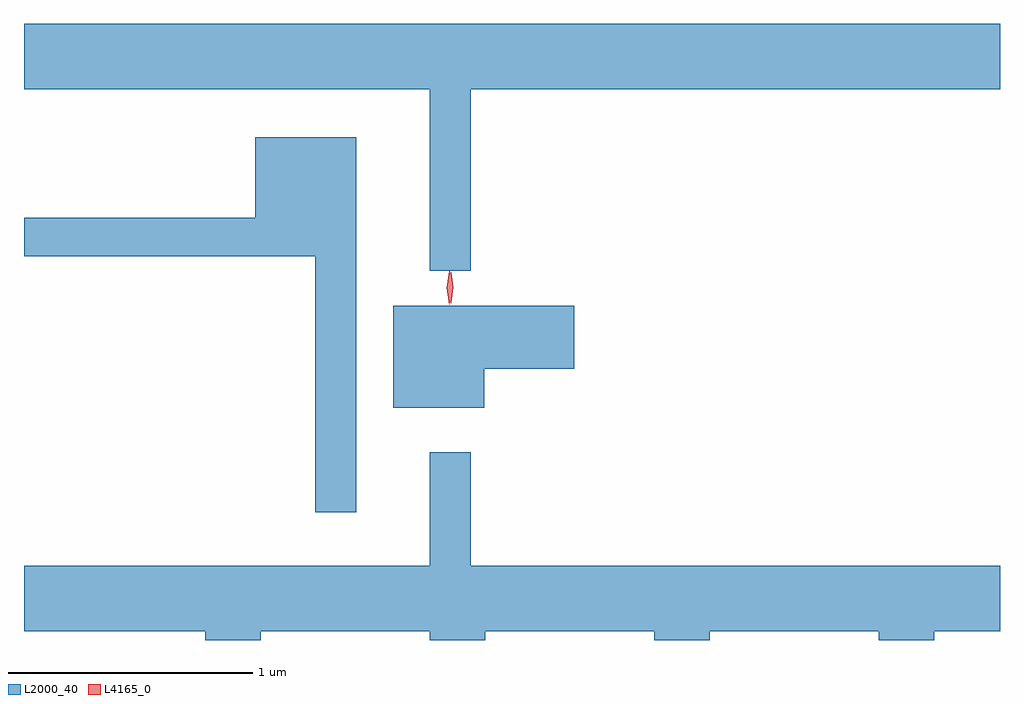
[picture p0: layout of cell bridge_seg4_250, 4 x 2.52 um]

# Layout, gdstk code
import gdstk
lib = gdstk.Library(unit=1e-6, precision=1e-09)
def P(c, l, *ps):  # polygons
    for p in ps: c.add(gdstk.Polygon(p, *l))
L2000_40 = (2000, 40)
L4165_0 = (4165, 0)

bridge_seg4_250 = lib.new_cell('bridge_seg4_250')
P(bridge_seg4_250, L2000_40, [(666.099,1345.796),(668.268,1345.796),(668.268,1346.064),(664.268,1346.064),(664.268,1345.796),(665.931,1345.796),(665.931,1345.053),(666.099,1345.053)],
  [(665.629,1345.599),(665.216,1345.599),(665.216,1345.269),(664.268,1345.269),(664.268,1345.111),(665.461,1345.111),(665.461,1344.063),(665.629,1344.063)],
  [(666.154,1344.651),(666.524,1344.651),(666.524,1344.909),(665.781,1344.909),(665.781,1344.491),(666.154,1344.491)],
  [(665.239,1343.576),(665.931,1343.576),(665.931,1343.539),(666.159,1343.539),(666.159,1343.576),(666.851,1343.576),(666.851,1343.539),(667.079,1343.539),(667.079,1343.576),(667.771,1343.576),(667.771,1343.539),(667.999,1343.539),(667.999,1343.576),(668.268,1343.576),(668.268,1343.844),(666.099,1343.844),(666.099,1344.308),(665.931,1344.308),(665.931,1343.844),(664.268,1343.844),(664.268,1343.576),(665.011,1343.576),(665.011,1343.539),(665.239,1343.539)])
P(bridge_seg4_250, L4165_0, [(666.01,1344.914),(666.01,1344.914),(666.001,1344.982),(666.011,1345.05),(666.012,1345.05),(666.012,1345.05),(666.021,1344.982),(666.011,1344.914)],
  [(666.017,1344.92),(666.017,1344.92),(666.007,1344.984),(666.017,1345.046),(666.017,1345.047),(666.018,1345.046),(666.027,1344.984),(666.018,1344.92)])

lib.write_gds('bridge_seg4_250.gds')
